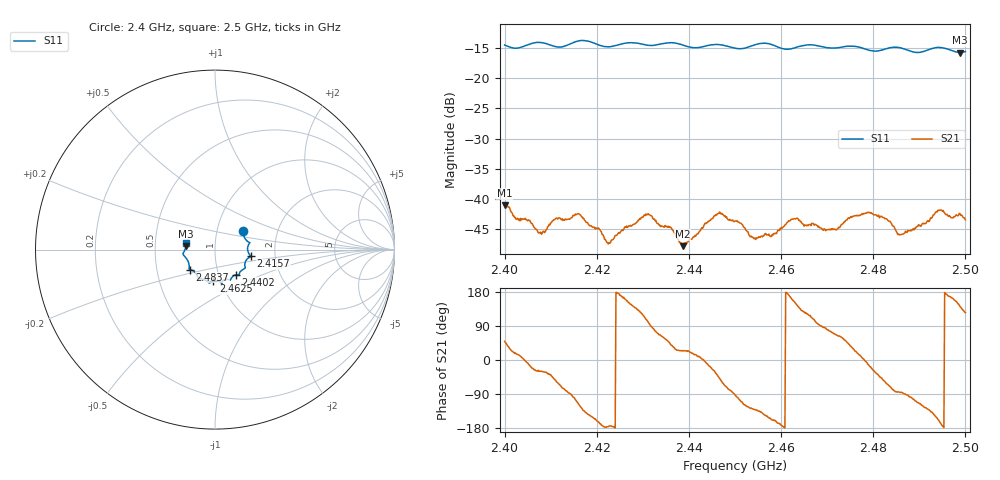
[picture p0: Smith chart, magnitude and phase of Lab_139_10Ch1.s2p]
# Hz S RI R 50
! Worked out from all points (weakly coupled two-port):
!   601 points, 2.4 GHz to 2.5 GHz, reference 50 ohm
!   highest |S21| = -41.04 dB at 2.4 GHz (marker M1); lowest = -47.8 dB at 2.4387 GHz (marker M2)
!   lowest |S11| = -15.7 dB at 2.4988 GHz (marker M3), VSWR 1.39, Z = 36 + j1.33 ohm
!   |S11| at or under -10 dB: start of sweep to end of sweep
!   S12 and S22 are empty: the file has one direction only
!   S11 on the Smith chart (normalised r, x): 2.4 GHz: 1.33, +0.29; 2.4157 GHz: 1.49, -0.11; 2.4402 GHz: 1.20, -0.35; 2.4625 GHz: 0.92, -0.34; 2.4837 GHz: 0.74, -0.17; 2.5 GHz: 0.72, +0.05
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2.4e9  0.1563 0.1058  0.00579 0.00672  0 0  0 0
2.407667e9  0.1945 0.0386  0.00453 -0.00258  0 0  0 0
2.415667e9  0.199 -0.0364  -0.00247 -0.00704  0 0  0 0
2.416667e9  0.2018 -0.0399  -0.00424 -0.00575  0 0  0 0
2.4225e9  0.1684 -0.0693  -0.00422 -0.000302  0 0  0 0
2.430667e9  0.1498 -0.115  -0.00224 0.00715  0 0  0 0
2.433333e9  0.1357 -0.1335  0.00219 0.00587  0 0  0 0
2.438667e9  0.1259 -0.1403  0.00371 0.00166  0 0  0 0
2.440167e9  0.1144 -0.1406  0.00436 0.00166  0 0  0 0
2.446333e9  0.0847 -0.1707  0.00552 -0.00515  0 0  0 0
2.45e9  0.0641 -0.1657  -0.000224 -0.00655  0 0  0 0
2.4545e9  0.0373 -0.1866  -0.00306 -0.00345  0 0  0 0
2.4625e9  -0.00983 -0.1767  -0.0063 0.00253  0 0  0 0
2.466667e9  -0.0329 -0.1864  -0.0023 0.00584  0 0  0 0
2.471833e9  -0.0663 -0.1653  0.00213 0.00513  0 0  0 0
2.479e9  -0.1048 -0.1354  0.00756 -0.00174  0 0  0 0
2.483333e9  -0.1383 -0.1119  0.00259 -0.00602  0 0  0 0
2.483667e9  -0.1402 -0.1116  0.0022 -0.00615  0 0  0 0
2.486167e9  -0.1442 -0.1038  0.000431 -0.00507  0 0  0 0
2.494167e9  -0.1784 -0.0251  -0.00743 -0.00297  0 0  0 0
2.498833e9  -0.1625 0.018  -0.00589 0.00473  0 0  0 0
2.5e9  -0.1625 0.0365  -0.00383 0.00552  0 0  0 0
